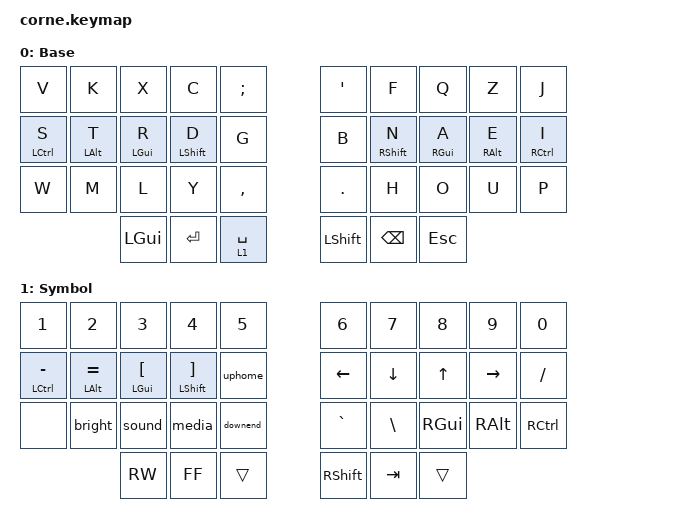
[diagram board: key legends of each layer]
#include <behaviors.dtsi>
#include <dt-bindings/zmk/keys.h>
#include <dt-bindings/zmk/bt.h>
#include "keys/36.h"

#define BASE 0
#define SYMBOL 1

/ {
  chosen {
    zmk,matrix_transform = &five_column_transform;
  };
};

/ {
  behaviors {
    hl: homerow_mods_left {
      compatible = "zmk,behavior-hold-tap";
      label = "HOMEROW_MODS_LEFT";
      #binding-cells = <2>;
      tapping-term-ms = <250>;
      quick-tap-ms = <100>;
      flavor = "balanced";
      bindings = <&kp>, <&kp>;
      require-prior-idle-ms = <200>;
      hold-trigger-key-positions = <5 6 7 8 9 15 16 17 18 19 25 26 27 28 29 33 34 35>;
      hold-trigger-on-release;
    };  
    hr: homerow_mods_right {
      compatible = "zmk,behavior-hold-tap";
      label = "HOMEROW_MODS_RIGHT";
      #binding-cells = <2>;
      tapping-term-ms = <250>;
      quick-tap-ms = <100>;
      flavor = "balanced";
      bindings = <&kp>, <&kp>;
      require-prior-idle-ms = <200>;
      hold-trigger-key-positions = <0 1 2 3 4 10 11 12 13 14 20 21 22 23 24 30 31 32>;
      hold-trigger-on-release;
    };
    sp: space_layer {
      compatible = "zmk,behavior-hold-tap";
      label = "SPACE_LAYER";
      #binding-cells = <2>;
      tapping-term-ms = <250>;
      quick-tap-ms = <100>;
      flavor = "tap-preferred";
      bindings = <&mo>, <&kp>;
      // require-prior-idle-ms = <200>;
      retro-tap;
    };
    uphome: page_up_home {
      compatible = "zmk,behavior-mod-morph";
      #binding-cells = <0>;
      bindings = <&kp PAGE_UP>, <&kp HOME>;
      mods = <(MOD_LSFT|MOD_RSFT)>;
    };
    downend: page_down_end {
      compatible = "zmk,behavior-mod-morph";
      #binding-cells = <0>;
      bindings = <&kp PAGE_DOWN>, <&kp END>;
      mods = <(MOD_LSFT|MOD_RSFT)>;
    };
    bright: brightness_up_down {
      compatible = "zmk,behavior-mod-morph";
      #binding-cells = <0>;
      bindings = <&kp C_BRIGHTNESS_INC>, <&kp C_BRIGHTNESS_DEC>;
      mods = <(MOD_LSFT|MOD_RSFT)>;
    };
    sound: volume_up_down {
      compatible = "zmk,behavior-mod-morph";
      #binding-cells = <0>;
      bindings = <&kp C_VOLUME_UP>, <&kp C_VOLUME_DOWN>;
      mods = <(MOD_LSFT|MOD_RSFT)>;
    };
    media: play_pause_mute {
      compatible = "zmk,behavior-mod-morph";
      #binding-cells = <0>;
      bindings = <&kp C_PLAY_PAUSE>, <&kp C_MUTE>;
      mods = <(MOD_LSFT|MOD_RSFT)>;
    };
  };

  combos {
    compatible = "zmk,combos";
    btclr {
      timeout-ms = <50>;
      key-positions = <30 31 32 33 34 35>;
      bindings = <&bt BT_CLR>;
    };
    btone {
      timeout-ms = <50>;
      key-positions = <0 32 35>;
      bindings = <&bt BT_SEL 0>;
    };
    bttwo {
      timeout-ms = <50>;
      key-positions = <1 32 35>;
      bindings = <&bt BT_SEL 1>;
    };
    btthree {
      timeout-ms = <50>;
      key-positions = <2 32 35>;
      bindings = <&bt BT_SEL 2>;
    };
    btfour {
      timeout-ms = <50>;
      key-positions = <3 32 35>;
      bindings = <&bt BT_SEL 3>;
    };
    btfive {
      timeout-ms = <50>;
      key-positions = <4 32 35>;
      bindings = <&bt BT_SEL 4>;
    };
  };
  
  keymap {
    compatible = "zmk,keymap";
    base { 
      bindings = <
    // ╭─────────────────────────────────────────────────╮         ╭─────────────────────────────────────────────────╮
    // │    V    │    K    │    X    │    C    │   ;/:   │         │   '/"   │    F    │    Q    │    Z    │    J    │
    // ├─────────┼─────────┼─────────┼─────────┼─────────┤         ├─────────┼─────────┼─────────┼─────────┼─────────┤
    // │    S    │    T    │    R    │    D    │    G    │         │    B    │    N    │    A    │    E    │    I    │
    // ├─────────┼─────────┼─────────┼─────────┼─────────┤         ├─────────┼─────────┼─────────┼─────────┼─────────┤
    // │    W    │    M    │    L    │    Y    │   ,/<   │         │   ./>   │    H    │    O    │    U    │    P    │
    // ╰─────────┼─────────┼─────────┼─────────┼─────────┤         ├─────────┼─────────┼─────────┼─────────┼─────────╯
    //                        LGUI     RETURN   SPC/LAYER            LSHIFT   BACKSPACE  ESCAPE
    //                     ╰─────────────────────────────╯         ╰─────────────────────────────╯
    &kp V       &kp K      &kp X      &kp C        &kp SEMI        &kp SQT    &kp F        &kp Q      &kp Z      &kp J
    &hl LCTRL S &hl LALT T &hl LGUI R &hl LSHIFT D &kp G           &kp B      &hr RSHIFT N &hr RGUI A &hr RALT E &hr RCTRL I  
    &kp W       &kp M      &kp L      &kp Y        &kp COMMA       &kp DOT    &kp H        &kp O      &kp U      &kp P   
                           &kp LGUI   &kp RET      &sp 1 SPACE     &kp LSHIFT &kp BSPC     &kp ESC   
      >;
      label = "Base";
    };
    symbol {
      bindings = <
// ╭─────────────────────────────────────────────────╮         ╭─────────────────────────────────────────────────╮
// │   1 !   │   2 @   │   3 #   │   4 $   │   5 %   │         │   6 ^   │   7 &   │   8 *   │   9 (   │   0 )   │
// ├─────────┼─────────┼─────────┼─────────┼─────────┤         ├─────────┼─────────┼─────────┼─────────┼─────────┤
// │   - _   │   = +   │   [ {   │   ] }   │   PgUp  │         │    ←    │    ↓    │    ↑    │    →    │   / ?   │
// ├─────────┼─────────┼─────────┼─────────┼─────────┤         ├─────────┼─────────┼─────────┼─────────┼─────────┤
// │   NONE  │  🔆 🔅  │  🔊 🔈  │   ⏯︎ 🔇  │   PgDn  │         │   ` ~   │   \ |   │  RGUI   │   RALT  │  RCTRL  │
// ╰─────────┼─────────┼─────────┼─────────┼─────────┤         ├─────────┼─────────┼─────────┼─────────┼─────────╯
//                         ⏮︎         ⏭︎        NONE               RSHIFT      TAB      NONE
//                     ╰─────────────────────────────╯         ╰─────────────────────────────╯
&kp N1          &kp N2         &kp N3        &kp N4          &kp N5   &kp N6     &kp N7   &kp N8   &kp N9     &kp N0
&hl LCTRL MINUS &hl LALT EQUAL &hl LGUI LBKT &hl LSHIFT RBKT &uphome  &kp LEFT   &kp DOWN &kp UP   &kp RIGHT  &kp FSLH  
&none           &bright        &sound        &media          &downend &kp GRAVE  &kp BSLH &kp RGUI &kp RALT   &kp RCTRL
                               &kp C_RW      &kp C_FF        &trans   &kp RSHIFT &kp TAB  &trans   
      >;
      label = "Symbol";
    };
  };
};
